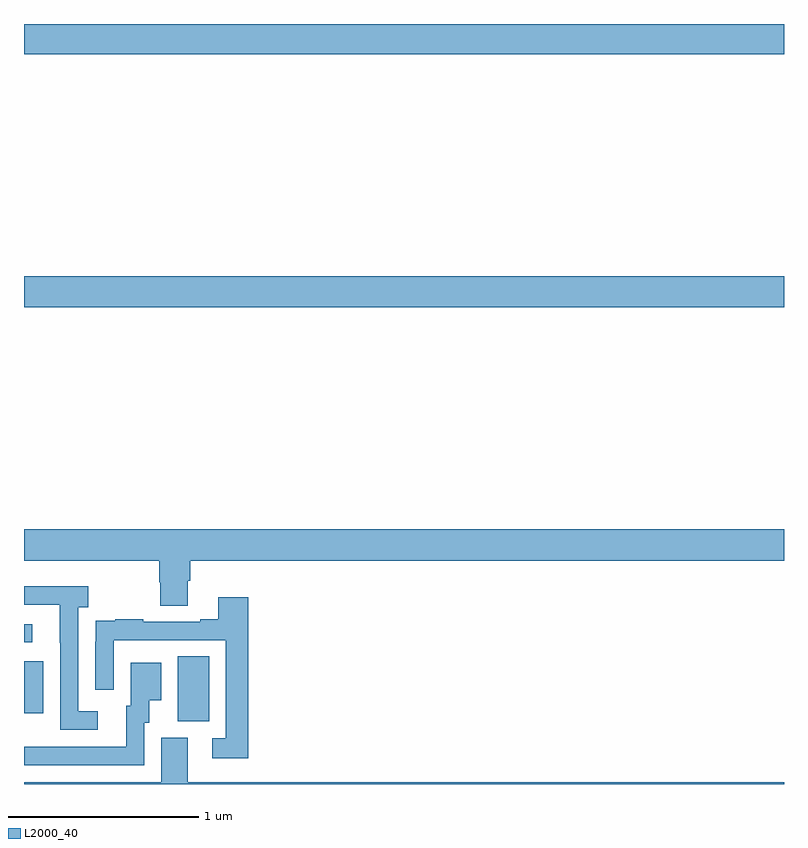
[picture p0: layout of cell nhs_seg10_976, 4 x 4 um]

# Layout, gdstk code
import gdstk
lib = gdstk.Library(unit=1e-6, precision=1e-09)
def R(c, l, rs):  # rectangles x0, y0, x1, y1
    for r in rs: c.add(gdstk.rectangle(r[:2], r[2:], *l))
def P(c, l, *ps):  # polygons
    for p in ps: c.add(gdstk.Polygon(p, *l))
L2000_40 = (2000, 40)

nhs_seg10_976 = lib.new_cell('nhs_seg10_976')
R(nhs_seg10_976, L2000_40, [(161.81,1272.829,161.974,1273.172), (161,1272.873,161.101,1273.147), (161,1273.245,161.044,1273.341), (161,1275.008,165,1275.172), (161,1276.34,165,1276.5)])
P(nhs_seg10_976, L2000_40, [(161,1273.676),(161.711,1273.676),(161.711,1273.563),(161.716,1273.563),(161.716,1273.438),(161.863,1273.438),(161.863,1273.57),(161.876,1273.57),(161.876,1273.676),(165,1273.676),(165,1273.84),(161,1273.84)],
  [(161.389,1272.882),(161.286,1272.882),(161.286,1273.43),(161.338,1273.43),(161.338,1273.54),(161,1273.54),(161,1273.443),(161.189,1273.443),(161.189,1273.243),(161.19,1273.243),(161.19,1272.786),(161.389,1272.786)],
  [(162.179,1273.483),(162.023,1273.483),(162.023,1273.366),(161.927,1273.366),(161.927,1273.353),(161.627,1273.353),(161.627,1273.366),(161.479,1273.366),(161.479,1273.359),(161.377,1273.359),(161.377,1273.25),(161.376,1273.25),(161.376,1272.996),(161.472,1272.996),(161.472,1273.257),(162.063,1273.257),(162.063,1272.741),(161.991,1272.741),(161.991,1272.636),(162.179,1272.636)],
  [(161.634,1272.822),(161.659,1272.822),(161.659,1272.941),(161.722,1272.941),(161.722,1273.138),(161.561,1273.138),(161.561,1272.912),(161.537,1272.912),(161.537,1272.696),(161.053,1272.696),(161.053,1272.697),(161,1272.697),(161,1272.6),(161.634,1272.6)],
  [(165,1272.508),(161.863,1272.508),(161.863,1272.744),(161.723,1272.744),(161.723,1272.508),(161,1272.508),(161,1272.5),(165,1272.5)])

lib.write_gds('nhs_seg10_976.gds')
